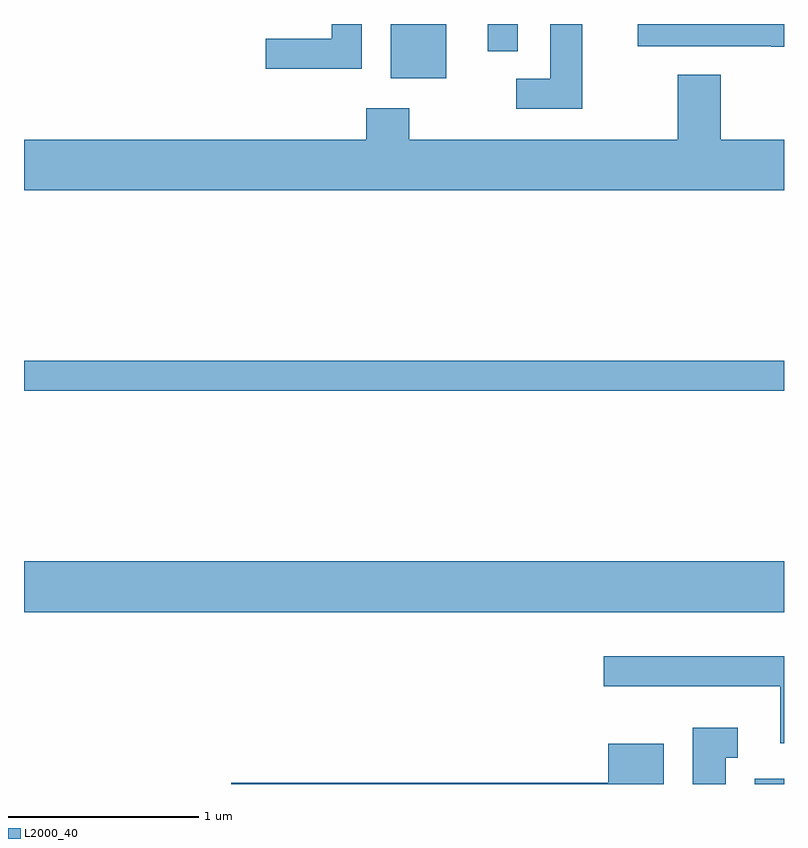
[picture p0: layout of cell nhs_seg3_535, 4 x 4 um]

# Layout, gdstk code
import gdstk
lib = gdstk.Library(unit=1e-6, precision=1e-09)
def R(c, l, rs):  # rectangles x0, y0, x1, y1
    for r in rs: c.add(gdstk.rectangle(r[:2], r[2:], *l))
def P(c, l, *ps):  # polygons
    for p in ps: c.add(gdstk.Polygon(p, *l))
L2000_40 = (2000, 40)

nhs_seg3_535 = lib.new_cell('nhs_seg3_535')
R(nhs_seg3_535, L2000_40, [(203.456,1233.892,203.611,1233.919), (199.611,1234.796,203.611,1235.064), (199.611,1235.961,203.611,1236.119), (201.541,1237.606,201.834,1237.892), (202.051,1237.748,202.209,1237.892)])
P(nhs_seg3_535, L2000_40, [(201.389,1237.892),(201.231,1237.892),(201.231,1237.814),(200.883,1237.814),(200.883,1237.656),(201.389,1237.656)],
  [(203.611,1237.892),(202.841,1237.892),(202.841,1237.776),(203.545,1237.776),(203.545,1237.771),(203.611,1237.771)],
  [(202.549,1237.892),(202.381,1237.892),(202.381,1237.604),(202.203,1237.604),(202.203,1237.446),(202.549,1237.446)],
  [(203.611,1237.284),(203.279,1237.284),(203.279,1237.624),(203.051,1237.624),(203.051,1237.284),(201.639,1237.284),(201.639,1237.449),(201.411,1237.449),(201.411,1237.284),(199.611,1237.284),(199.611,1237.016),(203.611,1237.016)],
  [(203.611,1234.564),(202.663,1234.564),(202.663,1234.406),(203.591,1234.406),(203.591,1234.106),(203.611,1234.106)],
  [(203.304,1234.031),(203.368,1234.031),(203.368,1234.189),(203.131,1234.189),(203.131,1233.892),(203.304,1233.892)],
  [(202.979,1234.104),(202.686,1234.104),(202.686,1233.899),(200.701,1233.899),(200.701,1233.892),(202.979,1233.892)])

lib.write_gds('nhs_seg3_535.gds')
